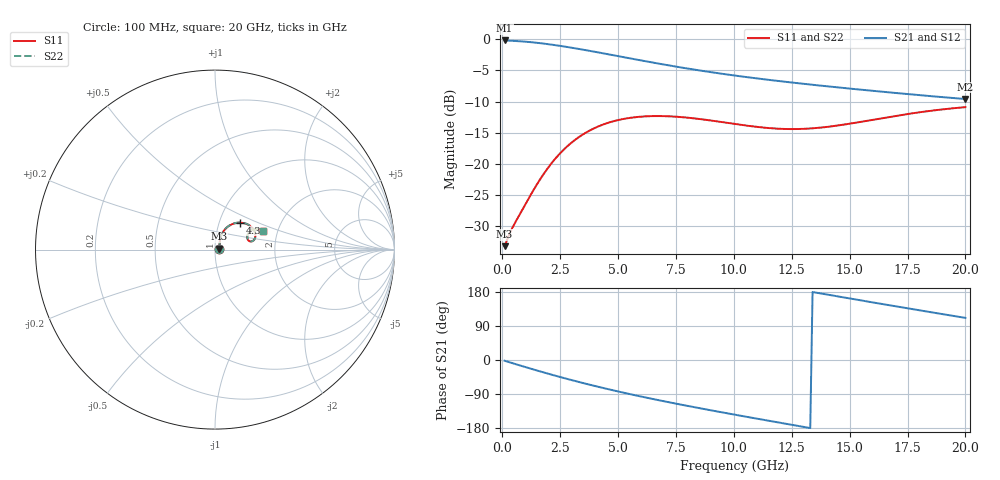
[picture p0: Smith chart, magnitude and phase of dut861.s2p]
! Touchstone file exported from HFSS 2024.1.0
!  File:  C:/UserFiles/LocalFiles/RDL_TSV_Batchsim/temp_RDL_TSV_861_1779924939.aedt
!  Generated:  07:52:34 AM May 28, 2026
!  Design:  RDL_TSV
!  Project:  temp_RDL_TSV_861_1779924939
!  Setup:  Setup1
!  Solution:  Sweep
! Variables:
!  dtsv = 8.14um
!  hbump = 3um
!  htsv = 53.53um
!  ldown = 584.85um
!  lrdl = 590.66um
!  p = 40
!  p1 = 40.42um
!  rhole = 10um
!  subl = 4117.19um
!  t = 450um
!  tdown = 2.94um
!  trdl = 4.23um
!  viad = 10um
!  wdown = 16.61um
!  wrdl = 25.6um
!  xbump = 18um
# GHz S MA R 50.000000
! Terminal data exported
! Port[1] = TM1_1_T1
! Port[2] = TM1_4_T1
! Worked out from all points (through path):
!   200 points, 100 MHz to 20 GHz, reference 50 ohm
!   highest |S21| = -0.19 dB at 100 MHz (marker M1); lowest = -9.6 dB at 20 GHz (marker M2)
!   group delay of S21, straight-line fit = 33.1 ps
!   lowest |S11| = -33.2 dB at 100 MHz (marker M3), VSWR 1.04, Z = 52.2 + j0.551 ohm
!   |S11| at or under -10 dB: start of sweep to end of sweep
!   |S22| runs from -33.2 to -10.9 dB; largest |S21 - S12| = 1.6e-14
!   S11 on the Smith chart (normalised r, x): 100 MHz: 1.04, +0.01; 4.3 GHz: 1.26, +0.39; 20 GHz: 1.67, +0.38
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0.1  0.02192 13.9  0.9786 -2.0  0.9786 -2.0  0.02192 13.9
! Gamma 0 0 0 0
! Port Impedance 50 0 50 0
0.4  0.02988 35.4  0.9728 -7.7  0.9728 -7.7  0.02987 35.4
0.9  0.04411 53.9  0.96 -16.9  0.96 -16.9  0.04409 54.0
1.4  0.06416 63.6  0.9415 -26.0  0.9415 -26.0  0.06418 63.8
1.9  0.08914 66.4  0.9179 -34.8  0.9179 -34.8  0.08924 66.5
2.3  0.1109 65.4  0.8965 -41.6  0.8965 -41.6  0.1111 65.6
2.7  0.1329 62.9  0.8735 -48.3  0.8735 -48.3  0.1332 63.0
3.5  0.1734 55.4  0.8248 -61.0  0.8248 -61.0  0.1739 55.5
4.3  0.2054 46.9  0.7752 -73.1  0.7752 -73.1  0.206 47.1
4.9  0.2226 40.7  0.7388 -81.6  0.7388 -81.6  0.2233 40.9
5.6  0.2355 34.0  0.6983 -91.2  0.6983 -91.2  0.2363 34.1
6.8  0.2423 24.3  0.6358 -106.7  0.6358 -106.7  0.2432 24.5
7.6  0.2387 19.3  0.5993 -116.4  0.5993 -116.4  0.2397 19.5
8.4  0.2309 15.7  0.567 -125.8  0.567 -125.8  0.2319 15.9
9.2  0.2207 13.4  0.5384 -134.9  0.5384 -134.9  0.2217 13.6
10.1  0.2086 12.6  0.5101 -145.0  0.5101 -145.0  0.2096 12.8
11.7  0.1929 15.5  0.4681 -162.4  0.4681 -162.4  0.1938 15.6
13.4  0.1932 21.8  0.4316 179.4  0.4316 179.4  0.194 21.9
15.1  0.2118 26.7  0.4007 161.4  0.4007 161.4  0.2126 26.8
16.7  0.238 27.5  0.3753 144.7  0.3753 144.7  0.2388 27.7
18.3  0.264 25.5  0.3527 128.3  0.3527 128.3  0.2649 25.6
20  0.2856 21.4  0.3317 111.1  0.3317 111.1  0.2865 21.6
